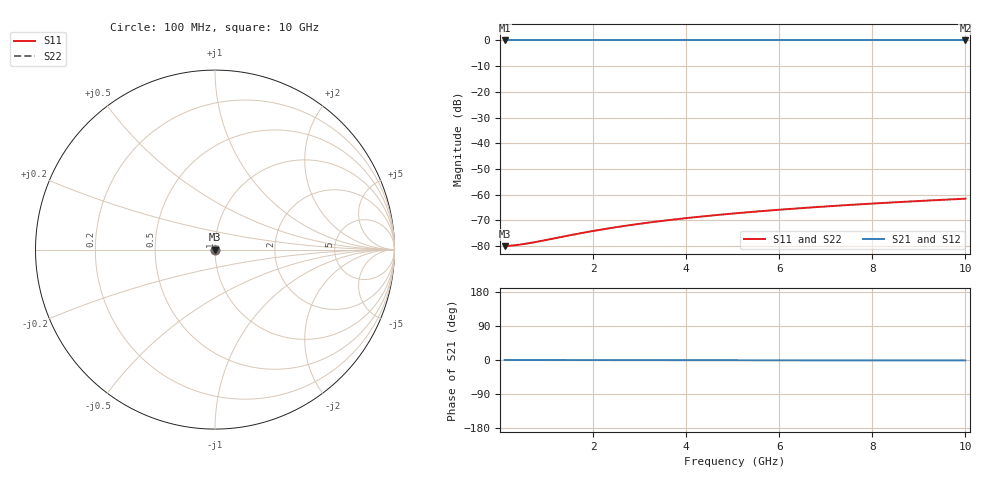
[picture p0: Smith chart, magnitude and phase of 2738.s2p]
# Hz S RI R 50.00
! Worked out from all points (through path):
!   100 points, 100 MHz to 10 GHz, reference 50 ohm
!   highest |S21| = 0.00 dB at 100 MHz (marker M1); lowest = 0.0 dB at 10 GHz (marker M2)
!   lowest |S11| = -80.1 dB at 100 MHz (marker M3), VSWR 1.00, Z = 50 + j0.000836 ohm
!   |S11| at or under -10 dB: start of sweep to end of sweep
!   |S22| runs from -80.1 to -61.6 dB; largest |S21 - S12| = 0
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1e8  9.89e-05 8.36e-06  0.9999 -0.000209  0.9999 -0.000209  9.89e-05 8.36e-06
2e8  9.94e-05 1.67e-05  0.9999 -0.000418  0.9999 -0.000418  9.94e-05 1.67e-05
3e8  9.98e-05 2.51e-05  0.9999 -0.000626  0.9999 -0.000626  9.98e-05 2.51e-05
4e8  0.0001 3.34e-05  0.9999 -0.000835  0.9999 -0.000835  0.0001 3.34e-05
6e8  0.000101 5.01e-05  0.9999 -0.00125  0.9999 -0.00125  0.000101 5.01e-05
9e8  0.000101 7.52e-05  0.9999 -0.00188  0.9999 -0.00188  0.000101 7.52e-05
1.5e9  0.000102 0.000125  0.9999 -0.00313  0.9999 -0.00313  0.000102 0.000125
1.8e9  0.000102 0.00015  0.9999 -0.00376  0.9999 -0.00376  0.000102 0.00015
2.2e9  0.000103 0.000183  0.9999 -0.0046  0.9999 -0.0046  0.000103 0.000183
2.6e9  0.000104 0.000216  0.9999 -0.00543  0.9999 -0.00543  0.000104 0.000216
3e9  0.000104 0.000249  0.9999 -0.00627  0.9999 -0.00627  0.000104 0.000249
3.4e9  0.000105 0.000282  0.9999 -0.00711  0.9999 -0.00711  0.000105 0.000282
3.8e9  0.000105 0.000315  0.9999 -0.00794  0.9999 -0.00794  0.000105 0.000315
4.2e9  0.000106 0.000348  0.9998 -0.00878  0.9998 -0.00878  0.000106 0.000348
4.6e9  0.000107 0.000381  0.9998 -0.00962  0.9998 -0.00962  0.000107 0.000381
5.1e9  0.000108 0.000422  0.9998 -0.0107  0.9998 -0.0107  0.000108 0.000422
5.9e9  0.000109 0.000487  0.9998 -0.0124  0.9998 -0.0124  0.000109 0.000487
6.7e9  0.000111 0.000553  0.9998 -0.014  0.9998 -0.014  0.000111 0.000553
7.5e9  0.000113 0.000618  0.9998 -0.0157  0.9998 -0.0157  0.000113 0.000618
8.4e9  0.000116 0.000692  0.9997 -0.0176  0.9997 -0.0176  0.000116 0.000692
9.2e9  0.000119 0.000758  0.9997 -0.0193  0.9997 -0.0193  0.000119 0.000758
1e10  0.000121 0.000824  0.9997 -0.021  0.9997 -0.021  0.000121 0.000824
